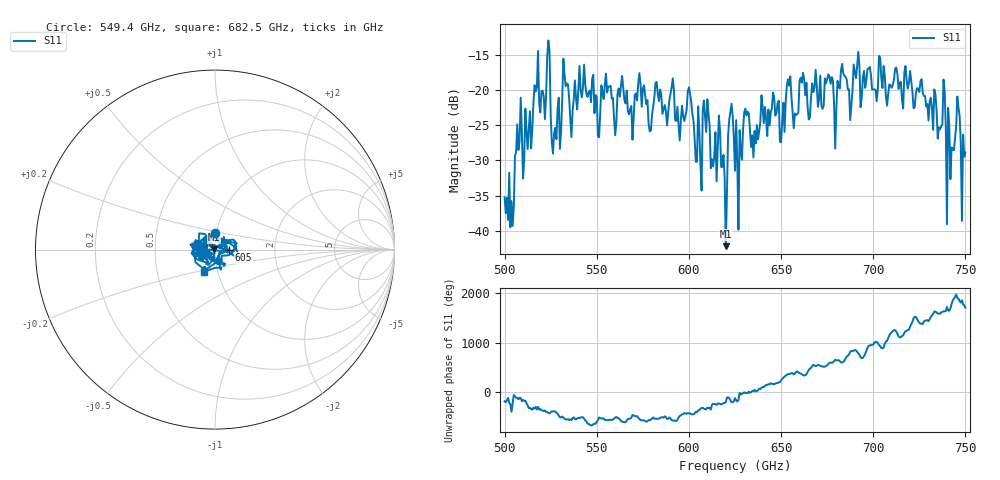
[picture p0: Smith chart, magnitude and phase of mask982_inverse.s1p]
!Created with skrf (http://scikit-rf.org).
# GHz S MA R 50.0
!freq magS11 angS11
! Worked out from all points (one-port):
!   401 points, 500 GHz to 750 GHz, reference 50 ohm
!   lowest |S11| = -42.2 dB at 620 GHz (marker M1), VSWR 1.02, Z = 49.3 + j0.232 ohm
!   |S11| at or under -10 dB: start of sweep to end of sweep
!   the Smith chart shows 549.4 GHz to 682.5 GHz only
!   S11 on the Smith chart (normalised r, x): 549.4 GHz: 0.98, +0.18; 605 GHz: 1.17, -0.00; 682.5 GHz: 0.86, -0.22
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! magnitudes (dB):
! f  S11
! 500 GHz  -35.2
! 504.4 GHz  -39.3
! 507.5 GHz  -28.5
! 513.8 GHz  -23.0
! 516.9 GHz  -20.2
! 523.8 GHz  -12.9
! 526.9 GHz  -26.1
! 531.2 GHz  -21.4
! 549.4 GHz  -20.7
! 562.5 GHz  -20.9
! 579.4 GHz  -25.7
! 590.6 GHz  -19.6
! 593.8 GHz  -22.4
! 600.6 GHz  -20.5
! 605 GHz  -22.3
! 609.4 GHz  -25.9
! 620 GHz  -42.2
! 622.5 GHz  -23.0
! 625 GHz  -31.5
! 627.5 GHz  -25.7
! 631.2 GHz  -23.6
! 635 GHz  -29.6
! 656.2 GHz  -23.2
! 682.5 GHz  -17.2
! 687.5 GHz  -24.3
! 690.6 GHz  -18.3
! 718.8 GHz  -19.8
! 750 GHz  -28.9
